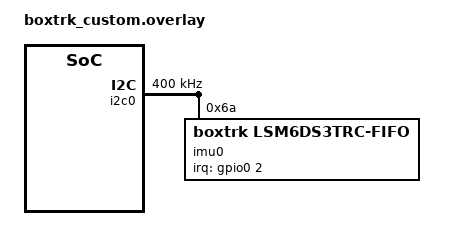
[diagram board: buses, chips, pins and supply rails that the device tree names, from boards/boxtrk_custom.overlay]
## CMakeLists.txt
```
# SPDX-License-Identifier: Apache-2.0
cmake_minimum_required(VERSION 3.20.0)

# Our own devicetree bindings (boxtrk,lsm6ds3trc-fifo)
list(APPEND DTS_ROOT ${CMAKE_CURRENT_SOURCE_DIR})

find_package(Zephyr REQUIRED HINTS $ENV{ZEPHYR_BASE})
project(boxing_tracker VERSION 0.2.0 LANGUAGES C)

target_include_directories(app PRIVATE src)
target_sources(app PRIVATE
  src/main.c
  src/imu_lsm6ds3trc.c
  src/ringbuf.c
  src/raw_pack.c
  src/punch_detect.c
  src/session.c
  src/ble_svc.c
  src/power.c
  src/battery.c
  src/btrk_util.c
  src/evlog.c
  src/event_log.c
  src/role.c
)
```

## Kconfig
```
# Boxing tracker application options
mainmenu "Boxing Tracker"

menu "Boxing Tracker"

config BTRK_RING_SAMPLES
	int "IMU sample ring buffer length (power of two)"
	default 512
	help
	  512 samples = ~1.23 s at 416 Hz; 16 bytes/sample.

config BTRK_FIFO_WTM_SAMPLES
	int "LSM6DS3TR-C FIFO watermark in 6-axis samples"
	default 12
	range 1 80
	help
	  Interrupt fires when this many gyro+accel sample pairs are in the
	  FIFO (~29 ms at 416 Hz). Bigger = fewer wakeups, more latency.

config BTRK_DETECT_THRESHOLD_CG
	int "Default punch threshold on |a|-1g, in 0.01 g"
	default 350

config BTRK_DETECT_REFRACTORY_MS
	int "Default punch refractory period (ms)"
	default 150

config BTRK_ADV_FAST_TIMEOUT_S
	int "Fast advertising duration after wake (s)"
	default 30

config BTRK_ADV_TIMEOUT_S
	int "Total advertising time without a connection before System OFF (s)"
	default 300

config BTRK_CONN_IDLE_TIMEOUT_S
	int "Connected but no session: disconnect after (s)"
	default 600

config BTRK_SESSION_IDLE_TIMEOUT_S
	int "Session with no strikes: auto-stop after (s)"
	default 600

config BTRK_CAL_GUARD_MS
	int "Calibration: guard-pose hold time at session start (ms)"
	default 2000

config BTRK_WOM_THRESHOLD_MG
	int "Wake-on-motion threshold (mg, rounded to FS/64 = 31.25 mg at +-2 g)"
	default 125

config BTRK_ROLE_WINDOW_S
	int "Pairing / role-assignment window after a reset or power-on (s)"
	default 120
	range 10 255
	help
	  The hand role (0x0009) can be changed, and new bonds made, only in
	  this window after tapping RESET or connecting the battery (not after
	  a wake from System OFF), or over a link encrypted with an existing
	  bond, or while no role is set. See docs/gatt-spec.md.

config BTRK_RAW_STREAM
	bool "Raw IMU streaming over BLE (debug / data collection)"
	default n
	help
	  Opt-in debug / data-collection build. Enables the 0x0005 raw stream
	  and RAW_START/RAW_STOP; without it RAW_START answers UNSUPPORTED and
	  the device sends events only (the power-budget default). The
	  on-device detector and event log run regardless.

config BTRK_BATTERY_PERIOD_S
	int "Battery sampling period (s)"
	default 300

module = BTRK
module-str = boxing tracker
source "subsys/logging/Kconfig.template.log_config"

endmenu

source "Kconfig.zephyr"
```

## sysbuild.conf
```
# Build MCUboot alongside the app (west build --sysbuild).
SB_CONFIG_BOOTLOADER_MCUBOOT=y
# Swap using move: test-then-confirm upgrades with revert.
SB_CONFIG_MCUBOOT_MODE_SWAP_USING_MOVE=y
# Prototype key! Replace with your own: imgtool keygen -k boxtrk.pem -t ecdsa-p256
SB_CONFIG_BOOT_SIGNATURE_TYPE_ECDSA_P256=y
```

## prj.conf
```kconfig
# ---- Core ----
CONFIG_GPIO=y
CONFIG_I2C=y
CONFIG_REGULATOR=y
CONFIG_FPU=y
CONFIG_POWEROFF=y
CONFIG_HWINFO=y
CONFIG_MAIN_STACK_SIZE=2048
CONFIG_SYSTEM_WORKQUEUE_STACK_SIZE=2304
CONFIG_HEAP_MEM_POOL_SIZE=2048

# Logging over RTT keeps USB/UART off (lower power). Switch to UART for debug.
CONFIG_LOG=y
CONFIG_LOG_MODE_DEFERRED=y
CONFIG_LOG_BACKEND_RTT=y
CONFIG_LOG_BACKEND_UART=n
CONFIG_USE_SEGGER_RTT=y
CONFIG_CONSOLE=n
CONFIG_UART_CONSOLE=n
CONFIG_SERIAL=n
# Board defaults to USB CDC-ACM console; USB stays off to save power.
# Re-enter the UF2 bootloader with a double-tap on RESET.
CONFIG_USB_DEVICE_STACK=n

# ---- Bluetooth ----
CONFIG_BT=y
CONFIG_BT_PERIPHERAL=y
CONFIG_BT_DEVICE_NAME="BoxTrk"
# name gets a role suffix at runtime: BoxTrk-L / BoxTrk-R
CONFIG_BT_DEVICE_NAME_DYNAMIC=y
CONFIG_BT_DEVICE_NAME_MAX=16
CONFIG_BT_DEVICE_APPEARANCE=193
CONFIG_BT_MAX_CONN=1
CONFIG_BT_GATT_DYNAMIC_DB=n
CONFIG_BT_BAS=y
CONFIG_BT_DIS=y
CONFIG_BT_DIS_MODEL_NUMBER=y
CONFIG_BT_DIS_MODEL_NUMBER_STR="BoxTrk-XIAO"
CONFIG_BT_DIS_MANUF_NAME=y
CONFIG_BT_DIS_MANUF_NAME_STR="DIY"
# Large MTU / DLE / 2M PHY so 18 raw samples fit in one notification.
CONFIG_BT_L2CAP_TX_MTU=498
CONFIG_BT_BUF_ACL_RX_SIZE=502
CONFIG_BT_BUF_ACL_TX_SIZE=502
CONFIG_BT_BUF_ACL_TX_COUNT=10
CONFIG_BT_BUF_EVT_RX_COUNT=12
CONFIG_BT_CTLR_DATA_LENGTH_MAX=251
CONFIG_BT_USER_DATA_LEN_UPDATE=y
CONFIG_BT_USER_PHY_UPDATE=y
CONFIG_BT_GAP_AUTO_UPDATE_CONN_PARAMS=n
CONFIG_BT_CTLR_TX_PWR_0=y
CONFIG_BT_CTLR_LE_PING=n

# ---- Bonding (role changes from a bonded central; Just Works, see gatt-spec) ----
CONFIG_BT_SMP=y
CONFIG_BT_BONDABLE=y
CONFIG_BT_SMP_APP_PAIRING_ACCEPT=y
CONFIG_BT_MAX_PAIRED=4
CONFIG_BT_SETTINGS=y

# ---- Settings (role, boot counter, bonds) on the internal storage partition ----
CONFIG_FLASH_PAGE_LAYOUT=y
CONFIG_NVS=y
CONFIG_SETTINGS=y
CONFIG_SETTINGS_NVS=y

# ---- Event log on the QSPI NOR (P25Q16H), deep power-down between accesses ----
CONFIG_NORDIC_QSPI_NOR=y
CONFIG_NORDIC_QSPI_NOR_FLASH_LAYOUT_PAGE_SIZE=4096
CONFIG_PM_DEVICE=y
CONFIG_PM_DEVICE_RUNTIME=y

# ---- Battery (VBAT divider on AIN7) ----
CONFIG_ADC=y

# ---- MCUmgr / SMP over BLE for OTA DFU (MCUboot is enabled via sysbuild.conf) ----
CONFIG_BOOTLOADER_MCUBOOT=y
CONFIG_NET_BUF=y
CONFIG_ZCBOR=y
CONFIG_CRC=y
CONFIG_FLASH=y
CONFIG_FLASH_MAP=y
CONFIG_STREAM_FLASH=y
CONFIG_IMG_MANAGER=y
CONFIG_MCUMGR=y
CONFIG_MCUMGR_GRP_IMG=y
CONFIG_MCUMGR_GRP_OS=y
CONFIG_MCUMGR_TRANSPORT_BT=y
CONFIG_MCUMGR_TRANSPORT_BT_REASSEMBLY=y
CONFIG_MCUMGR_TRANSPORT_BT_CONN_PARAM_CONTROL=y
CONFIG_MCUMGR_TRANSPORT_NETBUF_SIZE=2475
CONFIG_MCUMGR_GRP_OS_MCUMGR_PARAMS=y
CONFIG_MCUMGR_TRANSPORT_WORKQUEUE_STACK_SIZE=4608
# NOTE: SMP over BLE is unauthenticated here (prototype). See docs/gatt-spec.md
```

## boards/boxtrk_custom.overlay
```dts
/*
 * PLACEHOLDER for the future custom tracker PCB (nRF52840 + IMU + charger).
 * Not built or tested. When the custom board exists, create a real Zephyr
 * board definition (boards/<vendor>/boxtrk_v1/) and rename this file to
 * boards/boxtrk_v1_nrf52840.overlay. The app code only depends on:
 *
 *   chosen { boxtrk,imu = <IMU node with compatible "boxtrk,lsm6ds3trc-fifo">; }
 *   (the IMU node must have irq-gpios = INT1, routed to a GPIO that can wake
 *    the nRF52840 from System OFF - any GPIO can via SENSE)
 *   aliases { boxtrk-led = <optional LED>; }
 *   slot0_partition / slot1_partition / boot_partition for MCUboot
 *
 * If the custom board uses LSM6DSO32 (+-32 g) a new driver/compatible is
 * needed (register map is different); see docs/hardware-notes.md.
 */

/ {
	chosen {
		boxtrk,imu = &imu0;
	};
};

&i2c0 {
	status = "okay";
	clock-frequency = <I2C_BITRATE_FAST>;
	/* pinctrl-0 = <&i2c0_default>; -- define for your pins */

	imu0: imu@6a {
		compatible = "boxtrk,lsm6ds3trc-fifo";
		reg = <0x6a>;
		irq-gpios = <&gpio0 2 GPIO_ACTIVE_HIGH>; /* TODO: real INT1 pin */
	};
};

/* No UF2 bootloader on the custom board: use a standard MCUboot layout
 * (boot_partition at 0x0, 48 KB) instead of nrf52840_uf2_mcuboot_partitions.dtsi,
 * and update sysbuild/mcuboot.overlay accordingly. */
```

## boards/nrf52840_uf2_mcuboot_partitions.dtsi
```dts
/*
 * Flash map for an nRF52840 that keeps the Adafruit nRF52 UF2 bootloader
 * (+ the SoftDevice/MBR region it expects) and chain-loads MCUboot:
 *
 *   0x00000 - 0x27000  MBR + SoftDevice S140 v7 (untouched, 156 KB)
 *   0x27000 - 0x33000  MCUboot              (48 KB)  <- "application" for UF2 bootloader
 *   0x33000 - 0x8F000  slot0 / image-0      (368 KB) <- this app (signed)
 *   0x8F000 - 0xEB000  slot1 / image-1      (368 KB) <- DFU upload target
 *   0xEB000 - 0xF4000  storage (settings)   (36 KB)
 *   0xF4000 - 0x100000 Adafruit UF2 bootloader (read-only, 48 KB)
 *
 * Used by both the app (boards/*.overlay) and MCUboot (sysbuild/mcuboot.overlay).
 * A custom board WITHOUT the UF2 bootloader should use the standard
 * nrf52840 MCUboot layout instead (boot at 0x0); see boards/boxtrk_custom.overlay.
 */

/delete-node/ &reserved_partition_0;
/delete-node/ &code_partition;
/delete-node/ &storage_partition;
/delete-node/ &boot_partition;

&flash0 {
	partitions {
		compatible = "fixed-partitions";
		#address-cells = <1>;
		#size-cells = <1>;

		sd_partition: partition@0 {
			label = "mbr-softdevice";
			read-only;
			reg = <0x00000000 0x00027000>;
		};
		boot_partition: partition@27000 {
			label = "mcuboot";
			reg = <0x00027000 0x0000c000>;
		};
		slot0_partition: partition@33000 {
			label = "image-0";
			reg = <0x00033000 0x0005c000>;
		};
		slot1_partition: partition@8f000 {
			label = "image-1";
			reg = <0x0008f000 0x0005c000>;
		};
		storage_partition: partition@eb000 {
			label = "storage";
			reg = <0x000eb000 0x00009000>;
		};
		uf2_partition: partition@f4000 {
			label = "uf2-bootloader";
			read-only;
			reg = <0x000f4000 0x0000c000>;
		};
	};
};
```

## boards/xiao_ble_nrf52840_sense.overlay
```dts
/*
 * Seeed XIAO nRF52840 Sense - everything board-specific for the app lives here.
 *
 * - Onboard LSM6DS3TR-C at I2C0 0x6A, INT1 -> P0.11, powered by the
 *   "lsm6ds3tr-c-en" fixed regulator (P1.08) from the board DTS. That GPIO
 *   keeps its state in System OFF, so the IMU stays powered for wake-on-motion.
 * - We replace the in-tree st,lsm6dsl sensor binding with our own FIFO driver.
 * - Flash map: UF2 bootloader kept, MCUboot chain-loaded at 0x27000.
 *   Settings (role, bonds, boot counter) live in the internal storage_partition.
 * - Event log: the whole 2 MB P25Q16H QSPI NOR (eventlog_partition), in deep
 *   power-down between accesses (runtime PM).
 * - Battery: VBAT -> 1 M / 510 k divider -> P0.31 (AIN7). The divider's low side
 *   is P0.14, which must be driven LOW (never HIGH: that puts VBAT on P0.31).
 */
#include <zephyr/dt-bindings/adc/adc.h>
#include <zephyr/dt-bindings/adc/nrf-saadc.h>
#include "nrf52840_uf2_mcuboot_partitions.dtsi"

/ {
	chosen {
		zephyr,code-partition = &slot0_partition;
		boxtrk,imu = &lsm6ds3tr_c;
	};

	aliases {
		boxtrk-led = &led2;	/* blue: BLE/session indicator */
	};

	zephyr,user {
		io-channels = <&adc 7>;
		vbat-en-gpios = <&gpio0 14 GPIO_ACTIVE_LOW>;
	};
};

&adc {
	#address-cells = <1>;
	#size-cells = <0>;
	status = "okay";

	channel@7 {
		reg = <7>;
		zephyr,gain = "ADC_GAIN_1_4";          /* 0.6 V ref -> 2.4 V full scale */
		zephyr,reference = "ADC_REF_INTERNAL";
		/* ~340 k source impedance: needs the longest acquisition time */
		zephyr,acquisition-time = <ADC_ACQ_TIME(ADC_ACQ_TIME_MICROSECONDS, 40)>;
		zephyr,input-positive = <NRF_SAADC_AIN7>;
		zephyr,resolution = <12>;
		zephyr,oversampling = <4>;
	};
};

&lsm6ds3tr_c {
	compatible = "boxtrk,lsm6ds3trc-fifo";
	irq-gpios = <&gpio0 11 GPIO_ACTIVE_HIGH>;
	status = "okay";
};

/* Unused on the tracker: keep off to save power */
&pdm0 {
	status = "disabled";
};

&qspi {
	status = "okay";
};

&p25q16h {
	/* resume (exit DPD) per access, back to deep power-down afterwards */
	zephyr,pm-device-runtime-auto;

	partitions {
		compatible = "fixed-partitions";
		#address-cells = <1>;
		#size-cells = <1>;

		eventlog_partition: partition@0 {
			label = "eventlog";
			reg = <0x00000000 0x00200000>;
		};
	};
};

&uart0 {
	status = "disabled";
};

&i2c1 {
	status = "disabled";
};

&spi2 {
	status = "disabled";
};

&ieee802154 {
	status = "disabled";
};
```

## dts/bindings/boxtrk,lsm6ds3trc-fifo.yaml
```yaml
description: |
  ST LSM6DS3TR-C 6-axis IMU driven by the boxing-tracker FIFO driver
  (src/imu_lsm6ds3trc.c): continuous FIFO, watermark interrupt on INT1,
  wake-on-motion on INT1 before System OFF.

compatible: "boxtrk,lsm6ds3trc-fifo"

include: i2c-device.yaml

properties:
  irq-gpios:
    type: phandle-array
    required: true
    description: INT1 pin (FIFO watermark + wake-up)
```

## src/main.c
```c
/*
 * Boxing Tracker firmware - main.
 * Board-specific config lives in the boards/ overlays; see README.md.
 */
#include <zephyr/kernel.h>
#include <zephyr/logging/log.h>
#include <zephyr/drivers/hwinfo.h>
#include <zephyr/settings/settings.h>

#include "battery.h"
#include "ble_svc.h"
#include "event_log.h"
#include "imu_lsm6ds3trc.h"
#include "power.h"
#include "role.h"
#include "session.h"

LOG_MODULE_REGISTER(main, CONFIG_BTRK_LOG_LEVEL);

/* IMU thread callback: feed the on-device detector and the raw stream. */
static void on_imu_batch(const struct imu_sample *s, size_t n, uint8_t flags)
{
	session_on_samples(s, n);
	if (IS_ENABLED(CONFIG_BTRK_RAW_STREAM)) {
		ble_raw_push(s, n, flags);
	}
}

int main(void)
{
	uint32_t cause = 0;

	(void)hwinfo_get_reset_cause(&cause);
	(void)hwinfo_clear_reset_cause();
	LOG_INF("boot, reset cause 0x%08x (wake from System OFF via IMU = LOW_POWER_WAKE)", cause);

	(void)role_settings_register();
	if (imu_init(on_imu_batch)) {
		LOG_ERR("IMU init failed");
	}
	if (ble_svc_init()) {
		return 0;
	}
	/* after bt_enable: loads bonds (bt/...) and our role / boot counter (btrk/...) */
	if (settings_load()) {
		LOG_ERR("settings load failed");
	}
	role_boot(cause);
	session_init();
	if (elog_init(role_boot_id()) == 0) {
		struct btrk_log_boot b = {.reset_cause = cause, .role = role_get(), .wrist = role_wrist()};
		(void)elog_append(BTRK_LOG_BOOT, &b, sizeof(b));
	}
	(void)battery_init();
	/* MCUmgr SMP-over-BLE service is registered automatically
	 * (CONFIG_MCUMGR_TRANSPORT_BT); OTA images are swapped by MCUboot. */
	power_init();
	return 0;
}
```

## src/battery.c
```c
/*
 * Battery level from the Seeed XIAO nRF52840 VBAT divider:
 *   VBAT -> 1 M -> P0.31 (AIN7) -> 510 k -> P0.14
 * P0.14 is driven LOW permanently (zephyr,user vbat-en-gpios). Seeed's caveat:
 * never drive P0.14 HIGH (or leave the divider low side floating) while a cell
 * is connected - P0.31 would then see the full battery voltage, above the
 * nRF52840's 3.6 V pin limit. Leaving it low costs ~2.8 uA (4.2 V / 1.51 M).
 *
 * SAADC: gain 1/4, internal 0.6 V reference (2.4 V full scale), 12 bit, 40 us
 * acquisition (high source impedance), 4x oversampling. Sampled every
 * CONFIG_BTRK_BATTERY_PERIOD_S and shortly after each connection; the result is
 * published through the Battery Service (0x180F). The voltage-to-% curve is a
 * generic 1-cell LiPo table (btrk_util.c) - expect +-10 % accuracy, and readings
 * rise while charging over USB.
 *
 * UNTESTED ON HARDWARE: verify against a multimeter (docs/bringup.md).
 */
#include <zephyr/kernel.h>
#include <zephyr/logging/log.h>
#include <zephyr/drivers/adc.h>
#include <zephyr/drivers/gpio.h>
#include <zephyr/bluetooth/services/bas.h>

#include "battery.h"
#include "btrk_util.h"

LOG_MODULE_REGISTER(battery, CONFIG_BTRK_LOG_LEVEL);

#define USER_NODE DT_PATH(zephyr_user)

#if DT_NODE_HAS_PROP(USER_NODE, io_channels) && DT_NODE_HAS_PROP(USER_NODE, vbat_en_gpios)
#define HAVE_VBAT 1
static const struct adc_dt_spec vbat = ADC_DT_SPEC_GET(USER_NODE);
static const struct gpio_dt_spec vbat_en = GPIO_DT_SPEC_GET(USER_NODE, vbat_en_gpios);
#else
#define HAVE_VBAT 0
#endif

static uint8_t level = 100;
static uint16_t last_mv;
static bool ok;

static void sample_fn(struct k_work *w);
static K_WORK_DELAYABLE_DEFINE(sample_work, sample_fn);

static int measure(void)
{
#if HAVE_VBAT
	int16_t raw = 0;
	struct adc_sequence seq = {.buffer = &raw, .buffer_size = sizeof(raw)};
	int err = adc_sequence_init_dt(&vbat, &seq);

	if (!err) {
		err = adc_read_dt(&vbat, &seq);
	}
	if (err) {
		LOG_WRN("adc read %d", err);
		return err;
	}
	int32_t mv = raw;
	err = adc_raw_to_millivolts_dt(&vbat, &mv);
	if (err) {
		return err;
	}
	last_mv = btrk_batt_mv_from_pin_mv(mv);
	level = btrk_batt_pct_from_mv(last_mv);
	LOG_INF("battery %u mV -> %u %%", last_mv, level);
	return 0;
#else
	return -ENOTSUP;
#endif
}

static void sample_fn(struct k_work *w)
{
	if (measure() == 0) {
		(void)bt_bas_set_battery_level(level);
	}
	k_work_reschedule(&sample_work, K_SECONDS(CONFIG_BTRK_BATTERY_PERIOD_S));
}

int battery_init(void)
{
#if HAVE_VBAT
	if (gpio_is_ready_dt(&vbat_en) && adc_is_ready_dt(&vbat)) {
		/* GPIO_ACTIVE_LOW: "active" drives P0.14 low, enabling the divider */
		int err = gpio_pin_configure_dt(&vbat_en, GPIO_OUTPUT_ACTIVE);
		if (!err) {
			err = adc_channel_setup_dt(&vbat);
		}
		ok = err == 0;
		if (err) {
			LOG_ERR("battery ADC setup %d", err);
		}
	}
#endif
	if (!ok) {
		LOG_WRN("no battery ADC: reporting a fixed 100 %%");
		return bt_bas_set_battery_level(level);
	}
	k_work_reschedule(&sample_work, K_MSEC(200));
	return 0;
}

void battery_sample_soon(void)
{
	if (ok) {
		k_work_reschedule(&sample_work, K_SECONDS(2));
	}
}

uint8_t battery_level_pct(void) { return level; }
uint16_t battery_mv(void) { return last_mv; }
```

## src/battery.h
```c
#ifndef BTRK_BATTERY_H_
#define BTRK_BATTERY_H_
#include <stdint.h>
/* Battery level via the XIAO VBAT divider (AIN7), published through the
 * Battery Service. Samples every CONFIG_BTRK_BATTERY_PERIOD_S and on request. */
int battery_init(void);
/* Returns state of charge 0..100 (estimate from the cell voltage). */
uint8_t battery_level_pct(void);
/* Last measured cell voltage in mV (0 = not measured / ADC unavailable). */
uint16_t battery_mv(void);
/* Take a fresh sample soon (e.g. on connect). */
void battery_sample_soon(void);
#endif
```

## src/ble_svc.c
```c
#include <zephyr/kernel.h>
#include <zephyr/logging/log.h>
#include <zephyr/bluetooth/bluetooth.h>
#include <zephyr/bluetooth/conn.h>
#include <zephyr/bluetooth/gatt.h>
#include <zephyr/bluetooth/uuid.h>
#include <zephyr/bluetooth/services/bas.h>
#include <zephyr/drivers/hwinfo.h>
#include <zephyr/sys/byteorder.h>
#include <string.h>

#include "btrk_util.h"
#include "event_log.h"
#include "role.h"

#include "ble_svc.h"
#include "imu_lsm6ds3trc.h"
#include "power.h"
#include "raw_pack.h"
#include "ringbuf.h"
#include "session.h"

LOG_MODULE_REGISTER(ble_svc, CONFIG_BTRK_LOG_LEVEL);

/* 6e7bXXXX-4b1d-4c8a-9a3e-2f5b0c1d7a00 */
#define BTRK_UUID(x) BT_UUID_128_ENCODE(0x6e7b0000 | (x), 0x4b1d, 0x4c8a, 0x9a3e, 0x2f5b0c1d7a00)

static struct bt_uuid_128 uuid_svc = BT_UUID_INIT_128(BTRK_UUID(BTRK_UUID_SERVICE));
static struct bt_uuid_128 uuid_punch = BT_UUID_INIT_128(BTRK_UUID(BTRK_UUID_PUNCH_EVENT));
static struct bt_uuid_128 uuid_ctrl = BT_UUID_INIT_128(BTRK_UUID(BTRK_UUID_SESSION_CTRL));
static struct bt_uuid_128 uuid_sum = BT_UUID_INIT_128(BTRK_UUID(BTRK_UUID_SESSION_SUM));
static struct bt_uuid_128 uuid_raw = BT_UUID_INIT_128(BTRK_UUID(BTRK_UUID_RAW_STREAM));
static struct bt_uuid_128 uuid_cfg = BT_UUID_INIT_128(BTRK_UUID(BTRK_UUID_CONFIG));
static struct bt_uuid_128 uuid_status = BT_UUID_INIT_128(BTRK_UUID(BTRK_UUID_STATUS));
static struct bt_uuid_128 uuid_time = BT_UUID_INIT_128(BTRK_UUID(BTRK_UUID_TIME_SYNC));
static struct bt_uuid_128 uuid_role = BT_UUID_INIT_128(BTRK_UUID(BTRK_UUID_ROLE));
static struct bt_uuid_128 uuid_log = BT_UUID_INIT_128(BTRK_UUID(BTRK_UUID_EVENT_LOG));

static struct bt_conn *cur_conn;
static atomic_t raw_on;
static bool punch_ntf, sum_ntf, raw_ntf, status_ntf, ctrl_ind, log_ntf;
static uint16_t raw_seq;
static atomic_t raw_flags;

/* raw sample ring (IMU thread -> raw TX thread) */
static struct imu_sample ring_storage[CONFIG_BTRK_RING_SAMPLES];
static struct sample_ring ring;
static K_SEM_DEFINE(raw_sem, 0, 1);

/* ---------------- GATT callbacks ---------------- */

static void ccc_punch(const struct bt_gatt_attr *a, uint16_t v) { punch_ntf = v == BT_GATT_CCC_NOTIFY; }
static void ccc_sum(const struct bt_gatt_attr *a, uint16_t v) { sum_ntf = v == BT_GATT_CCC_NOTIFY; }
static void ccc_raw(const struct bt_gatt_attr *a, uint16_t v) { raw_ntf = v == BT_GATT_CCC_NOTIFY; }
static void ccc_status(const struct bt_gatt_attr *a, uint16_t v) { status_ntf = v == BT_GATT_CCC_NOTIFY; }
static void ccc_ctrl(const struct bt_gatt_attr *a, uint16_t v) { ctrl_ind = v == BT_GATT_CCC_INDICATE; }
static void ccc_log(const struct bt_gatt_attr *a, uint16_t v) { log_ntf = v == BT_GATT_CCC_NOTIFY; }

/* ATT error for a refused role change: ask unencrypted centrals to pair first. */
static ssize_t role_denied(struct bt_conn *c)
{
	return BT_GATT_ERR(bt_conn_get_security(c) < BT_SECURITY_L2 ? BT_ATT_ERR_AUTHENTICATION
								     : BT_ATT_ERR_WRITE_NOT_PERMITTED);
}

static ssize_t read_sum(struct bt_conn *c, const struct bt_gatt_attr *attr, void *buf,
			uint16_t len, uint16_t off)
{
	struct btrk_session_summary sm;

	session_get_summary(&sm);
	return bt_gatt_attr_read(c, attr, buf, len, off, &sm, sizeof(sm));
}

static ssize_t read_cfg(struct bt_conn *c, const struct bt_gatt_attr *attr, void *buf,
			uint16_t len, uint16_t off)
{
	struct btrk_config cfg;

	session_get_config(&cfg);
	return bt_gatt_attr_read(c, attr, buf, len, off, &cfg, sizeof(cfg));
}

static ssize_t write_cfg(struct bt_conn *c, const struct bt_gatt_attr *attr, const void *buf,
			 uint16_t len, uint16_t off, uint8_t flags)
{
	struct btrk_config cfg;

	if (off != 0 || len != sizeof(cfg)) {
		return BT_GATT_ERR(BT_ATT_ERR_INVALID_ATTRIBUTE_LEN);
	}
	memcpy(&cfg, buf, sizeof(cfg));
	uint8_t role = role_get();
	/* v1.1: the hand comes from the role once one is set; a conflicting hand is
	 * refused. With no role yet, Config.hand assigns it (v1.0 centrals). */
	if (role != BTRK_ROLE_UNSET && cfg.hand != (role == BTRK_ROLE_REAR ? 1 : 0)) {
		return BT_GATT_ERR(BT_ATT_ERR_VALUE_NOT_ALLOWED);
	}
	if (session_set_config(&cfg)) {
		return BT_GATT_ERR(BT_ATT_ERR_VALUE_NOT_ALLOWED);
	}
	if (role == BTRK_ROLE_UNSET) {
		uint8_t nr = cfg.hand ? BTRK_ROLE_REAR : BTRK_ROLE_LEAD;
		(void)role_set(nr, btrk_default_wrist(nr, cfg.stance));
		ble_svc_update_adv();
	}
	return len;
}

static ssize_t read_time(struct bt_conn *c, const struct bt_gatt_attr *attr, void *buf,
			 uint16_t len, uint16_t off)
{
	struct btrk_time_sync ts = {
		/* same clock as raw-stream t0_us and the IMU sample timestamps */
		.device_time_us = (uint32_t)k_ticks_to_us_floor64(k_uptime_ticks()),
		.boot_id = role_boot_id(),
		.flags = session_active() ? BTRK_TS_F_SESSION : 0,
	};

	return bt_gatt_attr_read(c, attr, buf, len, off, &ts, sizeof(ts));
}

static ssize_t write_time(struct bt_conn *c, const struct bt_gatt_attr *attr, const void *buf,
			  uint16_t len, uint16_t off, uint8_t flags)
{
	struct btrk_log_anchor la = {0};

	if (off != 0 || len != sizeof(la.a)) {
		return BT_GATT_ERR(BT_ATT_ERR_INVALID_ATTRIBUTE_LEN);
	}
	memcpy(&la.a, buf, sizeof(la.a));
	(void)elog_append(BTRK_LOG_ANCHOR, &la, sizeof(la));
	return len;
}

static void fill_role(struct bt_conn *c, struct btrk_role_chr *r)
{
	r->role = role_get();
	r->wrist = role_wrist();
	r->flags = (role_window_open() ? BTRK_ROLE_F_WINDOW_OPEN : 0) |
		   (role_link_bonded(c) ? BTRK_ROLE_F_BONDED_LINK : 0) |
		   (role_persisted() ? BTRK_ROLE_F_PERSISTED : 0);
	r->window_s = role_window_left_s();
}

static ssize_t read_role(struct bt_conn *c, const struct bt_gatt_attr *attr, void *buf,
			 uint16_t len, uint16_t off)
{
	struct btrk_role_chr r;

	fill_role(c, &r);
	return bt_gatt_attr_read(c, attr, buf, len, off, &r, sizeof(r));
}

static ssize_t write_role(struct bt_conn *c, const struct bt_gatt_attr *attr, const void *buf,
			  uint16_t len, uint16_t off, uint8_t flags)
{
	const uint8_t *p = buf;

	if (off != 0 || (len != 2 && len != sizeof(struct btrk_role_chr))) {
		return BT_GATT_ERR(BT_ATT_ERR_INVALID_ATTRIBUTE_LEN);
	}
	if (p[0] > BTRK_ROLE_REAR || p[1] > BTRK_WRIST_RIGHT) {
		return BT_GATT_ERR(BT_ATT_ERR_VALUE_NOT_ALLOWED);
	}
	if (session_active()) {
		return BT_GATT_ERR(BT_ATT_ERR_WRITE_NOT_PERMITTED);
	}
	if (!role_write_allowed(c)) {
		return role_denied(c);
	}
	if (role_set(p[0], p[1])) {
		return BT_GATT_ERR(BT_ATT_ERR_UNLIKELY);
	}
	session_role_changed();
	ble_svc_update_adv();
	return len;
}

static ssize_t read_log(struct bt_conn *c, const struct bt_gatt_attr *attr, void *buf,
			uint16_t len, uint16_t off)
{
	struct btrk_log_info li;

	elog_info(&li);
	return bt_gatt_attr_read(c, attr, buf, len, off, &li, sizeof(li));
}

static ssize_t write_log(struct bt_conn *c, const struct bt_gatt_attr *attr, const void *buf,
			 uint16_t len, uint16_t off, uint8_t flags)
{
	if (off != 0 || len < 1) {
		return BT_GATT_ERR(BT_ATT_ERR_INVALID_ATTRIBUTE_LEN);
	}
	switch (elog_op(buf, len)) {
	case BTRK_ST_OK:
		ble_svc_update_adv();
		return len;
	case BTRK_ST_INVALID_PARAM:
		return BT_GATT_ERR(BT_ATT_ERR_VALUE_NOT_ALLOWED);
	case BTRK_ST_UNSUPPORTED:
		return BT_GATT_ERR(BT_ATT_ERR_NOT_SUPPORTED);
	default:
		return BT_GATT_ERR(BT_ATT_ERR_PROCEDURE_IN_PROGRESS);
	}
}

static void fill_status(struct btrk_status *st)
{
	enum cal_state cs = session_cal_state();

	st->power_state = (uint8_t)power_state_get();
	st->flags = (atomic_get(&raw_on) ? 0x01 : 0) | (session_active() ? 0x02 : 0) |
		    (cs == CAL_DONE ? 0x04 : 0) |
		    ((cs == CAL_GUARD || cs == CAL_JAB) ? 0x08 : 0);
	st->dropped = (uint16_t)MIN(ring.dropped, 0xffff);
}

static ssize_t read_status(struct bt_conn *c, const struct bt_gatt_attr *attr, void *buf,
			   uint16_t len, uint16_t off)
{
	struct btrk_status st;

	fill_status(&st);
	return bt_gatt_attr_read(c, attr, buf, len, off, &st, sizeof(st));
}

static void ctrl_respond(uint8_t op, uint8_t status);

static ssize_t write_ctrl(struct bt_conn *c, const struct bt_gatt_attr *attr, const void *buf,
			  uint16_t len, uint16_t off, uint8_t flags)
{
	const uint8_t *p = buf;
	uint8_t st = BTRK_ST_OK;
	int err = 0;

	if (off != 0 || len < 1) {
		return BT_GATT_ERR(BT_ATT_ERR_INVALID_ATTRIBUTE_LEN);
	}
	switch (p[0]) {
	case BTRK_OP_SESSION_START:
		if (len != 5) {
			st = BTRK_ST_INVALID_PARAM;
			break;
		}
		err = session_start(sys_get_le32(p + 1));
		break;
	case BTRK_OP_SESSION_STOP:
		err = session_stop();
		break;
	case BTRK_OP_RAW_START:
		if (!IS_ENABLED(CONFIG_BTRK_RAW_STREAM)) {
			st = BTRK_ST_UNSUPPORTED; /* debug mode compiled out */
			break;
		}
		sample_ring_reset(&ring);
		atomic_set(&raw_on, 1);
		atomic_or(&raw_flags, BTRK_RAW_F_TS_RESYNC);
		power_event(PWR_EVT_RAW_START);
		break;
	case BTRK_OP_RAW_STOP:
		atomic_set(&raw_on, 0);
		power_event(PWR_EVT_RAW_STOP);
		break;
	case BTRK_OP_ROUND_MARK:
		LOG_INF("round mark %u", len > 1 ? p[1] : 0);
		session_round_mark(len > 1 ? p[1] : 0);
		break;
	case BTRK_OP_FORGET:
		if (session_active()) {
			st = BTRK_ST_BAD_STATE;
		} else if (!role_write_allowed(c)) {
			st = BTRK_ST_NOT_PERMITTED;
		} else {
			err = role_forget(); /* also drops this link's bond */
			session_role_changed();
			ble_svc_update_adv();
		}
		break;
	case BTRK_OP_POWER_OFF:
		power_event(PWR_EVT_OFF_REQUEST);
		break;
	case BTRK_OP_CALIBRATE:
		err = session_recalibrate();
		break;
	default:
		st = BTRK_ST_UNSUPPORTED;
	}
	if (st == BTRK_ST_OK && err) {
		st = BTRK_ST_BAD_STATE;
	}
	ctrl_respond(p[0], st);
	ble_svc_notify_status();
	return len;
}

BT_GATT_SERVICE_DEFINE(btrk_svc,
	BT_GATT_PRIMARY_SERVICE(&uuid_svc),
	/* [1,2,3] punch event */
	BT_GATT_CHARACTERISTIC(&uuid_punch.uuid, BT_GATT_CHRC_NOTIFY, BT_GATT_PERM_NONE,
			       NULL, NULL, NULL),
	BT_GATT_CCC(ccc_punch, BT_GATT_PERM_READ | BT_GATT_PERM_WRITE),
	/* [4,5,6] session control point */
	BT_GATT_CHARACTERISTIC(&uuid_ctrl.uuid, BT_GATT_CHRC_WRITE | BT_GATT_CHRC_INDICATE,
			       BT_GATT_PERM_WRITE, NULL, write_ctrl, NULL),
	BT_GATT_CCC(ccc_ctrl, BT_GATT_PERM_READ | BT_GATT_PERM_WRITE),
	/* [7,8,9] session summary */
	BT_GATT_CHARACTERISTIC(&uuid_sum.uuid, BT_GATT_CHRC_READ | BT_GATT_CHRC_NOTIFY,
			       BT_GATT_PERM_READ, read_sum, NULL, NULL),
	BT_GATT_CCC(ccc_sum, BT_GATT_PERM_READ | BT_GATT_PERM_WRITE),
	/* [10,11,12] raw stream */
	BT_GATT_CHARACTERISTIC(&uuid_raw.uuid, BT_GATT_CHRC_NOTIFY, BT_GATT_PERM_NONE,
			       NULL, NULL, NULL),
	BT_GATT_CCC(ccc_raw, BT_GATT_PERM_READ | BT_GATT_PERM_WRITE),
	/* [13,14] config */
	BT_GATT_CHARACTERISTIC(&uuid_cfg.uuid, BT_GATT_CHRC_READ | BT_GATT_CHRC_WRITE,
			       BT_GATT_PERM_READ | BT_GATT_PERM_WRITE, read_cfg, write_cfg, NULL),
	/* [15,16,17] status */
	BT_GATT_CHARACTERISTIC(&uuid_status.uuid, BT_GATT_CHRC_READ | BT_GATT_CHRC_NOTIFY,
			       BT_GATT_PERM_READ, read_status, NULL, NULL),
	BT_GATT_CCC(ccc_status, BT_GATT_PERM_READ | BT_GATT_PERM_WRITE),
	/* [18,19] time sync (v1.1) */
	BT_GATT_CHARACTERISTIC(&uuid_time.uuid, BT_GATT_CHRC_READ | BT_GATT_CHRC_WRITE,
			       BT_GATT_PERM_READ | BT_GATT_PERM_WRITE, read_time, write_time, NULL),
	/* [20,21] hand role (v1.1); write policy in write_role() */
	BT_GATT_CHARACTERISTIC(&uuid_role.uuid, BT_GATT_CHRC_READ | BT_GATT_CHRC_WRITE,
			       BT_GATT_PERM_READ | BT_GATT_PERM_WRITE, read_role, write_role, NULL),
	/* [22,23,24] event log (v1.1) */
	BT_GATT_CHARACTERISTIC(&uuid_log.uuid,
			       BT_GATT_CHRC_READ | BT_GATT_CHRC_WRITE | BT_GATT_CHRC_NOTIFY,
			       BT_GATT_PERM_READ | BT_GATT_PERM_WRITE, read_log, write_log, NULL),
	BT_GATT_CCC(ccc_log, BT_GATT_PERM_READ | BT_GATT_PERM_WRITE),
);

#define ATTR_PUNCH  (&btrk_svc.attrs[2])
#define ATTR_CTRL   (&btrk_svc.attrs[5])
#define ATTR_SUM    (&btrk_svc.attrs[8])
#define ATTR_RAW    (&btrk_svc.attrs[11])
#define ATTR_STATUS (&btrk_svc.attrs[16])
#define ATTR_LOG    (&btrk_svc.attrs[23])

static struct bt_gatt_indicate_params ind_params;
static uint8_t ind_buf[3];

static void ctrl_respond(uint8_t op, uint8_t status)
{
	if (!cur_conn || !ctrl_ind) {
		return;
	}
	ind_buf[0] = BTRK_OP_RESPONSE;
	ind_buf[1] = op;
	ind_buf[2] = status;
	memset(&ind_params, 0, sizeof(ind_params));
	ind_params.attr = ATTR_CTRL;
	ind_params.data = ind_buf;
	ind_params.len = sizeof(ind_buf);
	(void)bt_gatt_indicate(cur_conn, &ind_params);
}

void ble_svc_notify_punch(const struct btrk_punch_evt *ev)
{
	if (cur_conn && punch_ntf) {
		(void)bt_gatt_notify(cur_conn, ATTR_PUNCH, ev, sizeof(*ev));
	}
	/* every event is also appended to the flash log by session.c */
}

size_t ble_svc_log_room(void)
{
	struct bt_conn *c = cur_conn;

	return (c && log_ntf) ? (size_t)bt_gatt_get_mtu(c) - 3 : 0;
}

int ble_svc_log_send(const void *buf, size_t len)
{
	struct bt_conn *c = cur_conn;

	if (!c || !log_ntf) {
		return -ENOTCONN;
	}
	return bt_gatt_notify(c, ATTR_LOG, buf, (uint16_t)len);
}

void ble_svc_notify_summary(void)
{
	struct btrk_session_summary sm;

	if (cur_conn && sum_ntf) {
		session_get_summary(&sm);
		(void)bt_gatt_notify(cur_conn, ATTR_SUM, &sm, sizeof(sm));
	}
}

void ble_svc_notify_status(void)
{
	struct btrk_status st;

	if (cur_conn && status_ntf) {
		fill_status(&st);
		(void)bt_gatt_notify(cur_conn, ATTR_STATUS, &st, sizeof(st));
	}
	ble_svc_update_adv(); /* session flag in the advertising data */
}

bool ble_raw_streaming(void) { return atomic_get(&raw_on); }

void ble_raw_push(const struct imu_sample *s, size_t n, uint8_t imu_flags)
{
	if (!atomic_get(&raw_on)) {
		return;
	}
	if (imu_flags & IMU_FLAG_FIFO_OVERRUN) {
		atomic_or(&raw_flags, BTRK_RAW_F_FIFO_OVERRUN);
	}
	if (imu_flags & IMU_FLAG_TS_RESYNC) {
		atomic_or(&raw_flags, BTRK_RAW_F_TS_RESYNC);
	}
	for (size_t i = 0; i < n; i++) {
		if (!sample_ring_put(&ring, &s[i])) {
			atomic_or(&raw_flags, BTRK_RAW_F_RING_OVERRUN);
		}
	}
	k_sem_give(&raw_sem);
}

/* Raw TX thread: pack as many samples as the MTU allows into each notification. */
static void raw_tx_thread(void *a, void *b, void *c)
{
	static struct imu_sample batch[BTRK_RAW_MAX_SAMPLES];
	static uint8_t pkt[BTRK_RAW_HDR_SIZE + BTRK_RAW_MAX_SAMPLES * BTRK_RAW_SAMPLE_SIZE];

	for (;;) {
		k_sem_take(&raw_sem, K_FOREVER);
		while (atomic_get(&raw_on) && cur_conn && raw_ntf) {
			size_t max = btrk_raw_samples_for_mtu(bt_gatt_get_mtu(cur_conn));
			if (max == 0 || sample_ring_count(&ring) < max) {
				break; /* wait for a full packet */
			}
			size_t n = sample_ring_get(&ring, batch, max);
			uint8_t fl = (uint8_t)atomic_clear(&raw_flags);
			size_t len = btrk_raw_pack(pkt, sizeof(pkt), batch, n, raw_seq++, fl);
			/* bt_gatt_notify blocks for a TX buffer when the link is busy */
			if (len && bt_gatt_notify(cur_conn, ATTR_RAW, pkt, len)) {
				atomic_or(&raw_flags, BTRK_RAW_F_RING_OVERRUN);
			}
		}
	}
}
K_THREAD_DEFINE(raw_tx_tid, 1536, raw_tx_thread, NULL, NULL, NULL, 5, 0, 0);

/* ---------------- connection / advertising ---------------- */

/* ADV: flags + service UUID + manufacturer data (role); scan response: name
 * "BoxTrk-L" / "BoxTrk-R" / "BoxTrk". 3 + 18 + 10 = 31 bytes. */
static struct btrk_adv_mfg mfg;
static uint16_t dev_suffix;
static char name_buf[16];
static struct bt_data ad[] = {
	BT_DATA_BYTES(BT_DATA_FLAGS, (BT_LE_AD_GENERAL | BT_LE_AD_NO_BREDR)),
	BT_DATA_BYTES(BT_DATA_UUID128_ALL, BTRK_UUID(BTRK_UUID_SERVICE)),
	BT_DATA(BT_DATA_MANUFACTURER_DATA, &mfg, sizeof(mfg)),
};
static struct bt_data sd[] = {
	BT_DATA(BT_DATA_NAME_COMPLETE, name_buf, 0),
};
static bool adv_on;

static void build_adv(void)
{
	uint8_t fl = (session_active() ? BTRK_ADV_F_SESSION : 0) |
		     (elog_pending() ? BTRK_ADV_F_LOG_PENDING : 0) |
		     (role_window_open() ? BTRK_ADV_F_WINDOW_OPEN : 0);
	const char *nm = btrk_role_name(role_get());

	btrk_adv_mfg_fill(&mfg, role_get(), role_wrist(), fl, dev_suffix);
	if (strcmp(nm, name_buf) != 0) {
		strncpy(name_buf, nm, sizeof(name_buf) - 1);
		(void)bt_set_name(name_buf); /* GAP Device Name characteristic too */
	}
	sd[0].data_len = (uint8_t)strlen(name_buf);
}

static void adv_update_fn(struct k_work *w);
static K_WORK_DELAYABLE_DEFINE(adv_update_work, adv_update_fn);

static void adv_update_fn(struct k_work *w)
{
	build_adv();
	if (adv_on) {
		int err = bt_le_adv_update_data(ad, ARRAY_SIZE(ad), sd, ARRAY_SIZE(sd));
		if (err) {
			LOG_DBG("adv update %d", err);
		}
	}
	if (role_window_open()) { /* clear WINDOW_OPEN in the adv data when it closes */
		(void)k_work_reschedule(&adv_update_work, K_SECONDS(role_window_left_s() + 1));
	}
}

void ble_svc_update_adv(void)
{
	(void)k_work_reschedule(&adv_update_work, K_MSEC(20));
}

int ble_adv_start(bool fast)
{
	/* fast: 100-150 ms; slow: ~1 s (units of 0.625 ms) */
	const struct bt_le_adv_param *p = fast ?
		BT_LE_ADV_PARAM(BT_LE_ADV_OPT_CONN, 160, 240, NULL) :
		BT_LE_ADV_PARAM(BT_LE_ADV_OPT_CONN, 1600, 1700, NULL);

	(void)bt_le_adv_stop();
	build_adv();
	int err = bt_le_adv_start(p, ad, ARRAY_SIZE(ad), sd, ARRAY_SIZE(sd));
	if (err) {
		LOG_WRN("adv start %d", err);
	}
	adv_on = err == 0;
	if (role_window_open()) {
		(void)k_work_reschedule(&adv_update_work, K_SECONDS(role_window_left_s() + 1));
	}
	return err;
}

int ble_adv_stop(void)
{
	adv_on = false;
	return bt_le_adv_stop();
}
bool ble_connected(void) { return cur_conn != NULL; }

void ble_disconnect(void)
{
	if (cur_conn) {
		(void)bt_conn_disconnect(cur_conn, BT_HCI_ERR_REMOTE_USER_TERM_CONN);
	}
}

void ble_set_conn_profile(bool low_latency)
{
	if (!cur_conn) {
		return;
	}
	/* raw: 7.5-15 ms; events: 100-200 ms, latency 4 (units 1.25 ms / 10 ms) */
	const struct bt_le_conn_param *p = low_latency ?
		BT_LE_CONN_PARAM(6, 12, 0, 400) : BT_LE_CONN_PARAM(80, 160, 4, 600);
	(void)bt_conn_le_param_update(cur_conn, p);
}

static void connected(struct bt_conn *conn, uint8_t err)
{
	if (err) {
		return;
	}
	cur_conn = bt_conn_ref(conn);
	adv_on = false; /* connectable advertising stops on connection */
	(void)bt_conn_le_data_len_update(conn, BT_LE_DATA_LEN_PARAM_MAX);
	(void)bt_conn_le_phy_update(conn, BT_CONN_LE_PHY_PARAM_2M);
	power_event(PWR_EVT_CONNECTED);
}

static void disconnected(struct bt_conn *conn, uint8_t reason)
{
	if (cur_conn == conn) {
		bt_conn_unref(cur_conn);
		cur_conn = NULL;
	}
	atomic_set(&raw_on, 0);
	punch_ntf = sum_ntf = raw_ntf = status_ntf = ctrl_ind = log_ntf = false;
	elog_abort();
	LOG_INF("disconnected 0x%02x", reason);
}

static void security_changed(struct bt_conn *conn, bt_security_t level, enum bt_security_err err)
{
	LOG_INF("security level %u err %d bonded %d", level, err, role_link_bonded(conn));
}

static void recycled(void)
{
	/* connection object is free again: safe to restart advertising */
	power_event(PWR_EVT_DISCONNECTED);
}

BT_CONN_CB_DEFINE(conn_cbs) = {
	.connected = connected,
	.disconnected = disconnected,
	.recycled = recycled,
	.security_changed = security_changed,
};

/* ---------------- pairing (Just Works, see docs/gatt-spec.md "Security") ----------------
 * New bonds are accepted only while the pairing window is open or while the device
 * has no bonds at all; otherwise pairing requests are rejected. */
static void count_bond(const struct bt_bond_info *info, void *user)
{
	(*(int *)user)++;
}

static enum bt_security_err pairing_accept(struct bt_conn *conn,
					   const struct bt_conn_pairing_feat *const feat)
{
	int bonds = 0;

	bt_foreach_bond(BT_ID_DEFAULT, count_bond, &bonds);
	if (role_window_open() || bonds == 0) {
		return BT_SECURITY_ERR_SUCCESS;
	}
	LOG_WRN("pairing refused: window closed, %d bond(s)", bonds);
	return BT_SECURITY_ERR_PAIR_NOT_ALLOWED;
}

static void pairing_complete(struct bt_conn *conn, bool bonded)
{
	LOG_INF("paired, bonded %d", bonded);
}

static void pairing_failed(struct bt_conn *conn, enum bt_security_err reason)
{
	LOG_WRN("pairing failed %d", reason);
}

static struct bt_conn_auth_cb auth_cb = {
	.pairing_accept = pairing_accept,
};
static struct bt_conn_auth_info_cb auth_info_cb = {
	.pairing_complete = pairing_complete,
	.pairing_failed = pairing_failed,
};

int ble_svc_init(void)
{
	sample_ring_init(&ring, ring_storage, CONFIG_BTRK_RING_SAMPLES);
	uint8_t id[8] = {0};
	ssize_t n = hwinfo_get_device_id(id, sizeof(id));

	dev_suffix = n >= 2 ? (uint16_t)(id[0] | (id[1] << 8)) : 0;
	int err = bt_enable(NULL);
	if (err) {
		LOG_ERR("bt_enable %d", err);
		return err;
	}
	(void)bt_conn_auth_cb_register(&auth_cb);
	(void)bt_conn_auth_info_cb_register(&auth_info_cb);
	return 0;
}
```

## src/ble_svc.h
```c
/* ble_svc.h - Boxing Tracker GATT service (layout in bt_proto.h / docs/gatt-spec.md) */
#ifndef BTRK_BLE_SVC_H_
#define BTRK_BLE_SVC_H_
#include <stdbool.h>
#include <stddef.h>
#include "bt_proto.h"
#include "imu_sample.h"

int ble_svc_init(void);
int ble_adv_start(bool fast);
int ble_adv_stop(void);
bool ble_connected(void);
void ble_disconnect(void);
/* Prefer low-power connection params (punch events) or low latency (raw). */
void ble_set_conn_profile(bool low_latency);

void ble_svc_notify_punch(const struct btrk_punch_evt *ev);
void ble_svc_notify_summary(void);
void ble_svc_notify_status(void);
bool ble_raw_streaming(void);
/* Rebuild the advertising data (role, flags) and the device name. */
void ble_svc_update_adv(void);
/* Event log transfer: payload bytes one notification can carry (0 = cannot send). */
size_t ble_svc_log_room(void);
int ble_svc_log_send(const void *buf, size_t len);
/* IMU thread: push raw samples (only when raw streaming is enabled). */
void ble_raw_push(const struct imu_sample *s, size_t n, uint8_t imu_flags);

#endif
```

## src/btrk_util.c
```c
#include "btrk_util.h"
#include <string.h>

uint16_t btrk_crc16(const void *data, size_t len)
{
	const uint8_t *p = data;
	uint16_t crc = 0xFFFF;

	while (len--) {
		crc ^= (uint16_t)(*p++) << 8;
		for (int i = 0; i < 8; i++) {
			crc = (crc & 0x8000) ? (uint16_t)((crc << 1) ^ 0x1021) : (uint16_t)(crc << 1);
		}
	}
	return crc;
}

static void put_le16(uint8_t *p, uint16_t v)
{
	p[0] = (uint8_t)v;
	p[1] = (uint8_t)(v >> 8);
}

void btrk_adv_mfg_fill(struct btrk_adv_mfg *m, uint8_t role, uint8_t wrist, uint8_t flags,
		       uint16_t dev_suffix)
{
	uint8_t *b = (uint8_t *)m;

	put_le16(b, BTRK_ADV_COMPANY_ID);
	b[2] = BTRK_ADV_PROTO;
	b[3] = role;
	b[4] = wrist;
	b[5] = flags;
	put_le16(b + 6, dev_suffix);
}

const char *btrk_role_name(uint8_t role)
{
	return role == BTRK_ROLE_LEAD ? "BoxTrk-L" : role == BTRK_ROLE_REAR ? "BoxTrk-R" : "BoxTrk";
}

bool btrk_role_write_allowed(uint8_t cur_role, bool window_open, bool link_bonded)
{
	return window_open || link_bonded || cur_role == BTRK_ROLE_UNSET;
}

bool btrk_window_open(bool reset_by_pin_or_power_on, uint32_t uptime_s, uint32_t window_s)
{
	return reset_by_pin_or_power_on && uptime_s < window_s;
}

uint8_t btrk_default_wrist(uint8_t role, uint8_t stance)
{
	if (role == BTRK_ROLE_UNSET) {
		return BTRK_WRIST_UNKNOWN;
	}
	bool lead = role == BTRK_ROLE_LEAD;
	bool southpaw = stance == 1;
	/* orthodox: lead = left; southpaw: lead = right */
	return (lead != southpaw) ? BTRK_WRIST_LEFT : BTRK_WRIST_RIGHT;
}

/* Typical 1-cell LiPo, light load (mV -> %); conservative at the bottom. */
static const struct { uint16_t mv; uint8_t pct; } curve[] = {
	{3300, 0}, {3500, 5}, {3600, 10}, {3700, 25}, {3750, 40}, {3800, 50},
	{3850, 60}, {3900, 70}, {4000, 80}, {4100, 92}, {4200, 100},
};

uint8_t btrk_batt_pct_from_mv(uint16_t mv)
{
	const size_t n = sizeof(curve) / sizeof(curve[0]);

	if (mv <= curve[0].mv) {
		return 0;
	}
	if (mv >= curve[n - 1].mv) {
		return 100;
	}
	for (size_t i = 1; i < n; i++) {
		if (mv < curve[i].mv) {
			uint32_t span = curve[i].mv - curve[i - 1].mv;
			uint32_t d = mv - curve[i - 1].mv;
			return (uint8_t)(curve[i - 1].pct + (d * (curve[i].pct - curve[i - 1].pct) + span / 2) / span);
		}
	}
	return 100;
}

uint16_t btrk_batt_mv_from_pin_mv(int32_t mv_pin)
{
	if (mv_pin <= 0) {
		return 0;
	}
	/* (1000k + 510k) / 510k */
	return (uint16_t)((mv_pin * 1510 + 255) / 510);
}
```

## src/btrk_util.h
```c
/* btrk_util.h - small portable helpers shared by firmware and host tests (no Zephyr). */
#ifndef BTRK_UTIL_H_
#define BTRK_UTIL_H_
#include <stdbool.h>
#include <stddef.h>
#include <stdint.h>
#include "bt_proto.h"

/* CRC-16/CCITT-FALSE (poly 0x1021, init 0xFFFF), as tools/proto.py crc16. */
uint16_t btrk_crc16(const void *data, size_t len);

/* Manufacturer advertising payload (little-endian, packed). */
void btrk_adv_mfg_fill(struct btrk_adv_mfg *m, uint8_t role, uint8_t wrist, uint8_t flags,
		       uint16_t dev_suffix);

/* Device name for a role: "BoxTrk-L" (lead), "BoxTrk-R" (rear), "BoxTrk" (unset). */
const char *btrk_role_name(uint8_t role);

/* Role write policy (docs/gatt-spec.md "Hand role"): allowed while the pairing
 * window after a reset/power-on is open, on a bonded+encrypted link, or while
 * the role is still unset. */
bool btrk_role_write_allowed(uint8_t cur_role, bool window_open, bool link_bonded);
/* Pairing window: open for window_s after a pin reset or power-on (NOT after a
 * wake from System OFF, so motion in a gym bag never opens it). */
bool btrk_window_open(bool reset_by_pin_or_power_on, uint32_t uptime_s, uint32_t window_s);

/* Default wrist for a role and stance (orthodox: lead = left wrist). */
uint8_t btrk_default_wrist(uint8_t role, uint8_t stance);

/* LiPo state of charge from the cell voltage (mV), piecewise-linear 0..100 %. */
uint8_t btrk_batt_pct_from_mv(uint16_t mv);
/* XIAO divider: VBAT -> 1 M / 510 k -> AIN7. mv_pin -> mv_battery. */
uint16_t btrk_batt_mv_from_pin_mv(int32_t mv_pin);

#endif
```

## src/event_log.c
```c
/*
 * Event log glue: evlog.c on the P25Q16H QSPI NOR (eventlog_partition, 2 MB =
 * 512 x 4 KB sectors = 65,408 records), written by one thread. The QSPI flash
 * sits in deep power-down between accesses (zephyr,pm-device-runtime-auto).
 *
 * READ transfers send records as notifications on 0x000A, floor((MTU-3)/32)
 * records per notification, terminated by an END record (type 0xFE) carrying
 * {u32 records_sent, u32 device_next_seq}. See docs/gatt-spec.md "Event log".
 */
#include <zephyr/kernel.h>
#include <zephyr/logging/log.h>
#include <zephyr/storage/flash_map.h>
#include <zephyr/sys/byteorder.h>
#include <string.h>

#include "event_log.h"
#include "evlog.h"
#include "ble_svc.h"
#include "role.h"

LOG_MODULE_REGISTER(evlog, CONFIG_BTRK_LOG_LEVEL);

#define LOG_PART FIXED_PARTITION_ID(eventlog_partition)

struct append_item {
	uint8_t type; /* 0 = wake-up only */
	uint8_t len;
	uint8_t payload[22];
};

K_MSGQ_DEFINE(append_q, sizeof(struct append_item), 32, 4);
static K_MUTEX_DEFINE(lock);
static K_SEM_DEFINE(idle_sem, 0, 1);

static const struct flash_area *fa;
static struct evlog lg;
static struct evlog_ops ops;
static bool ready;

static struct {
	bool active;
	bool abort;
	bool erase;
	uint32_t from, max, sent;
	struct evlog_iter it;
} xfer;

static int fa_read(void *c, uint32_t off, void *b, size_t n) { return flash_area_read(c, off, b, n); }
static int fa_write(void *c, uint32_t off, const void *b, size_t n) { return flash_area_write(c, off, b, n); }
static int fa_erase(void *c, uint32_t off, uint32_t n) { return flash_area_erase(c, off, n); }

int elog_init(uint16_t boot_id)
{
	int err = flash_area_open(LOG_PART, &fa);

	if (err) {
		LOG_ERR("eventlog partition: %d", err);
		return err;
	}
	if (!flash_area_device_is_ready(fa)) {
		LOG_ERR("QSPI flash not ready");
		return -ENODEV;
	}
	ops = (struct evlog_ops){fa_read, fa_write, fa_erase, (void *)fa, (uint32_t)fa->fa_size, 4096};
	k_mutex_lock(&lock, K_FOREVER);
	err = evlog_mount(&lg, &ops);
	lg.boot_id = boot_id;
	ready = err == 0;
	k_mutex_unlock(&lock);
	LOG_INF("event log: %d, seq %u..%u, cap %u", err, evlog_first_seq(&lg), lg.next_seq,
		evlog_capacity(&lg));
	return err;
}

bool elog_ready(void) { return ready; }

int elog_append(uint8_t type, const void *payload, size_t len)
{
	struct append_item it = {.type = type, .len = (uint8_t)len};

	if (!ready) {
		return -ENODEV;
	}
	if (len > sizeof(it.payload) || type == 0) {
		return -EINVAL;
	}
	memcpy(it.payload, payload, len);
	return k_msgq_put(&append_q, &it, K_NO_WAIT);
}

static void wake(void)
{
	struct append_item it = {0};

	(void)k_msgq_put(&append_q, &it, K_NO_WAIT);
}

uint32_t elog_next_seq(void) { return lg.next_seq; }

bool elog_pending(void)
{
	return ready && lg.next_seq > MAX(role_log_ack(), evlog_first_seq(&lg));
}

void elog_info(struct btrk_log_info *out)
{
	k_mutex_lock(&lock, K_FOREVER);
	out->first_seq = ready ? evlog_first_seq(&lg) : 0;
	out->next_seq = ready ? lg.next_seq : 0;
	out->capacity = ready ? evlog_capacity(&lg) : 0;
	out->boot_id = role_boot_id();
	out->rec_size = BTRK_LOG_REC_SIZE;
	out->flags = (xfer.active ? 0x01 : 0) | (ready ? 0 : 0x80);
	k_mutex_unlock(&lock);
}

uint8_t elog_op(const uint8_t *p, uint16_t len)
{
	uint8_t st = BTRK_ST_OK;

	if (!ready) {
		return BTRK_ST_BAD_STATE;
	}
	k_mutex_lock(&lock, K_FOREVER);
	switch (p[0]) {
	case BTRK_LOG_OP_READ:
		if (len != 9) {
			st = BTRK_ST_INVALID_PARAM;
		} else if (xfer.active) {
			st = BTRK_ST_BAD_STATE;
		} else {
			xfer.from = sys_get_le32(p + 1);
			xfer.max = sys_get_le32(p + 5);
			xfer.sent = 0;
			xfer.abort = false;
			evlog_iter_start(&lg, &xfer.it, xfer.from);
			xfer.active = true;
		}
		break;
	case BTRK_LOG_OP_ABORT:
		xfer.abort = true;
		break;
	case BTRK_LOG_OP_ERASE:
		if (len != 5 || sys_get_le32(p + 1) != BTRK_LOG_ERASE_MAGIC) {
			st = BTRK_ST_INVALID_PARAM;
		} else if (xfer.active) {
			st = BTRK_ST_BAD_STATE;
		} else {
			xfer.erase = true;
		}
		break;
	case BTRK_LOG_OP_ACK:
		if (len != 5) {
			st = BTRK_ST_INVALID_PARAM;
		} else {
			role_set_log_ack(MIN(sys_get_le32(p + 1), lg.next_seq));
		}
		break;
	default:
		st = BTRK_ST_UNSUPPORTED;
	}
	k_mutex_unlock(&lock);
	wake();
	return st;
}

void elog_abort(void)
{
	xfer.abort = true;
	wake();
}

int elog_flush(k_timeout_t timeout)
{
	if (!ready) {
		return 0;
	}
	k_sem_reset(&idle_sem);
	wake();
	return k_sem_take(&idle_sem, timeout);
}

static void write_one(const struct append_item *it)
{
	int err;

	k_mutex_lock(&lock, K_FOREVER);
	err = evlog_append(&lg, it->type, it->payload, it->len, NULL);
	k_mutex_unlock(&lock);
	if (err) {
		LOG_WRN("append type %u: %d", it->type, err);
	}
}

/* One transfer step: up to floor((MTU-3)/32) records in one notification. */
static void xfer_step(void)
{
	static uint8_t buf[7 * BTRK_LOG_REC_SIZE];
	struct btrk_log_rec *r = (struct btrk_log_rec *)buf;
	size_t room = ble_svc_log_room() / BTRK_LOG_REC_SIZE;
	size_t n = 0;
	bool end = false;

	room = MIN(room, ARRAY_SIZE(buf) / BTRK_LOG_REC_SIZE);
	if (room == 0 || xfer.abort) {
		xfer.active = false;
		return;
	}
	k_mutex_lock(&lock, K_FOREVER);
	while (n < room) {
		if (xfer.max && xfer.sent >= xfer.max) {
			end = true;
			break;
		}
		int rc = evlog_iter_next(&lg, &xfer.it, &r[n]);
		if (rc != 1) {
			end = true;
			break;
		}
		n++;
		xfer.sent++;
	}
	if (end && n < room) {
		struct btrk_log_rec *e = &r[n++];
		memset(e, 0, sizeof(*e));
		e->type = BTRK_LOG_END;
		e->boot_id = lg.boot_id;
		e->seq = n > 1 ? r[n - 2].seq + 1 : xfer.from;
		sys_put_le32(xfer.sent, e->payload);
		sys_put_le32(lg.next_seq, e->payload + 4);
		evlog_rec_seal(e);
		xfer.active = false;
	}
	k_mutex_unlock(&lock);
	if (n && ble_svc_log_send(buf, n * BTRK_LOG_REC_SIZE)) {
		xfer.active = false; /* disconnected / notifications off */
	}
}

static void log_thread(void *a, void *b, void *c)
{
	struct append_item it;

	for (;;) {
		bool busy = xfer.active || xfer.erase;
		if (k_msgq_get(&append_q, &it, busy ? K_NO_WAIT : K_FOREVER) == 0) {
			if (it.type) {
				write_one(&it);
			}
			continue; /* drain appends first */
		}
		if (xfer.erase) {
			k_mutex_lock(&lock, K_FOREVER);
			LOG_INF("erasing event log");
			int err = evlog_erase_all(&lg);
			xfer.erase = false;
			k_mutex_unlock(&lock);
			LOG_INF("erase done: %d", err);
			ble_svc_update_adv();
		} else if (xfer.active) {
			xfer_step();
		}
		if (!xfer.active && !xfer.erase && k_msgq_num_used_get(&append_q) == 0) {
			k_sem_give(&idle_sem);
		}
	}
}
K_THREAD_DEFINE(log_tid, 1536, log_thread, NULL, NULL, NULL, 8, 0, 0);
```

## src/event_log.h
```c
/* event_log.h - on-device event log (evlog ring on the QSPI NOR) + GATT transfer.
 * Appends are queued from any thread and written by the log thread. */
#ifndef BTRK_EVENT_LOG_H_
#define BTRK_EVENT_LOG_H_
#include <stdbool.h>
#include <stddef.h>
#include <stdint.h>
#include <zephyr/kernel.h>
#include "bt_proto.h"

int elog_init(uint16_t boot_id);
bool elog_ready(void);
/* Queue a record (non-blocking). -ENOMSG if the queue is full, -ENODEV if no flash. */
int elog_append(uint8_t type, const void *payload, size_t len);
void elog_info(struct btrk_log_info *out);
uint32_t elog_next_seq(void);
/* Records exist that the host has not ACKed. */
bool elog_pending(void);
/* GATT 0x000A control ops (return BTRK_ST_*) */
uint8_t elog_op(const uint8_t *p, uint16_t len);
/* Called on disconnect: stop any transfer. */
void elog_abort(void);
/* Wait until queued appends are on flash (before System OFF). */
int elog_flush(k_timeout_t timeout);

#endif
```
